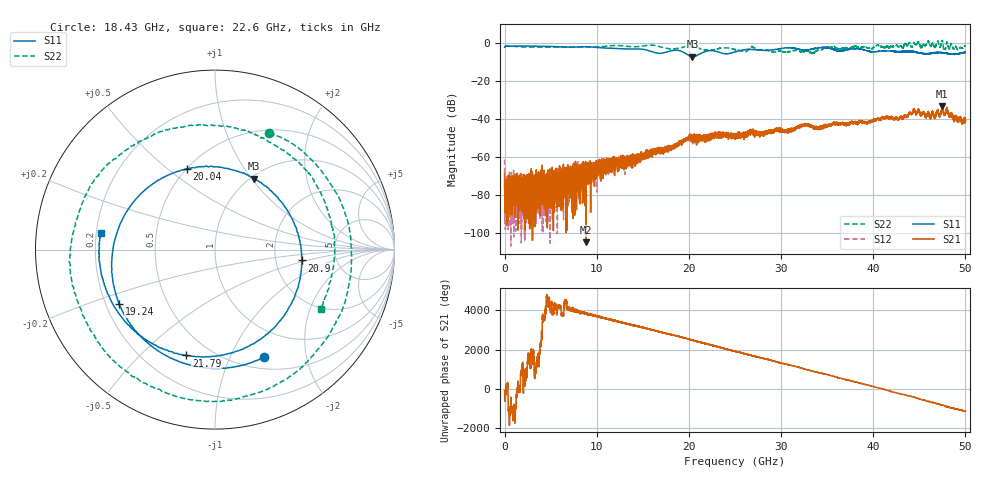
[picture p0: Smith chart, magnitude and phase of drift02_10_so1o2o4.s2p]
!Created with skrf (http://scikit-rf.org).
# Hz S RI R 50.0
!freq ReS11 ImS11 ReS21 ImS21 ReS12 ImS12 ReS22 ImS22
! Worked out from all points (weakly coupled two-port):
!   10001 points, 300 kHz to 50 GHz, reference 50 ohm
!   highest |S21| = -33.02 dB at 47.5 GHz (marker M1); lowest = -105.1 dB at 8.82 GHz (marker M2)
!   lowest |S11| = -6.9 dB at 20.38 GHz (marker M3), VSWR 2.64, Z = 51.5 + j51.2 ohm
!   |S11| at or under -10 dB: nowhere
!   |S22| runs from -5.3 to 1.6 dB; largest |S21 - S12| = 0.0037
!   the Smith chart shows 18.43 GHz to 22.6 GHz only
!   S11 on the Smith chart (normalised r, x): 18.43 GHz: 0.64, -1.35; 19.24 GHz: 0.25, -0.25; 20.04 GHz: 0.50, +0.58; 20.9 GHz: 2.83, -0.45; 21.79 GHz: 0.37, -0.70; 22.6 GHz: 0.22, +0.07
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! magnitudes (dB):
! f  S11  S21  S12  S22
! 300 kHz  -2.1  -68.6  -61.2  -1.3
! 265.3 MHz  -1.4  -77.7  -79.7  -1.4
! 2.15 GHz  -1.3  -81.7  -71.4  -1.9
! 5.25 GHz  -1.6  -76.0  -74.5  -2.0
! 8.335 GHz  -1.7  -64.7  -67.5  -1.9
! 8.82 GHz  -1.7  -105.1  -71.2  -1.9
! 16.67 GHz  -5.2  -55.7  -55.6  -1.4
! 18.43 GHz  -3.6  -53.2  -54.2  -2.9
! 19.24 GHz  -4.2  -52.1  -51.8  -2.2
! 20.04 GHz  -6.4  -49.6  -49.7  -1.5
! 20.38 GHz  -6.9  -49.1  -50.1  -1.7
! 20.9 GHz  -6.2  -48.8  -49.9  -2.2
! 21.79 GHz  -4.3  -49.9  -49.5  -3.5
! 22.6 GHz  -3.9  -47.5  -48.7  -3.4
! 25 GHz  -4.5  -48.7  -49.0  -3.2
! 26.11 GHz  -3.3  -48.2  -48.4  -4.4
! 26.9 GHz  -3.2  -45.4  -46.0  -1.6
! 33.34 GHz  -3.1  -43.6  -43.4  -5.2
! 34.91 GHz  -2.3  -43.1  -43.7  -2.1
! 41.67 GHz  -4.0  -39.1  -39.1  -2.0
! 47.5 GHz  -4.9  -33.0  -34.6  1.2
! 50 GHz  -4.8  -40.0  -40.8  -1.4
